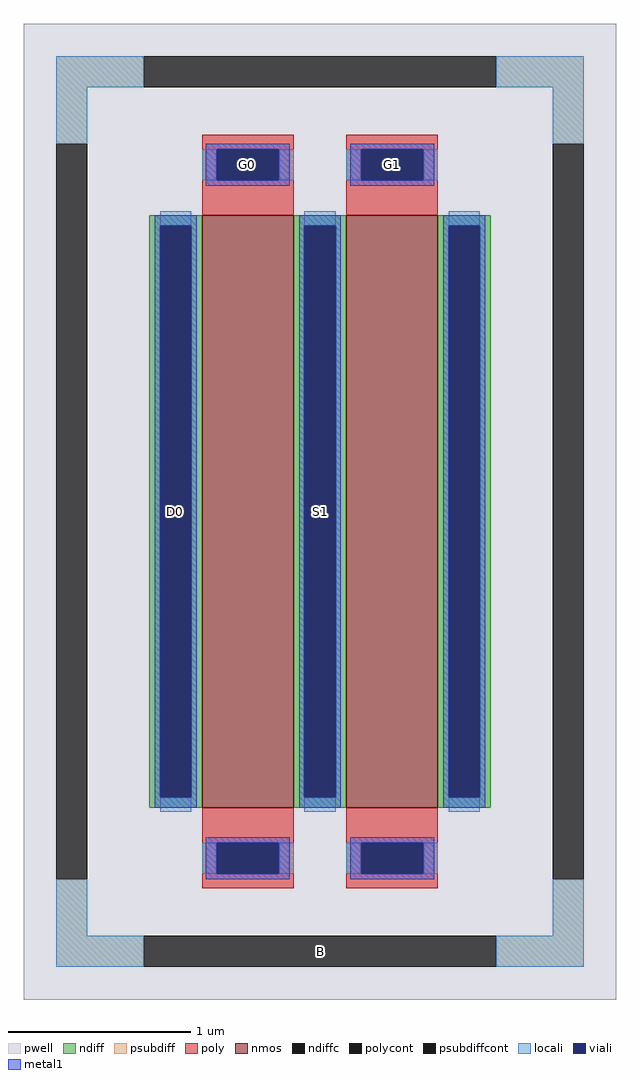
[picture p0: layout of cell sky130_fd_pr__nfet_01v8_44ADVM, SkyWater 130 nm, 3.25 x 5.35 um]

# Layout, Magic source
magic
tech sky130A
magscale 1 2
<< pwell >>
rect -325 -535 325 535
<< nmos >>
rect -129 -325 -29 325
rect 29 -325 129 325
<< ndiff >>
rect -187 313 -129 325
rect -187 -313 -175 313
rect -141 -313 -129 313
rect -187 -325 -129 -313
rect -29 313 29 325
rect -29 -313 -17 313
rect 17 -313 29 313
rect -29 -325 29 -313
rect 129 313 187 325
rect 129 -313 141 313
rect 175 -313 187 313
rect 129 -325 187 -313
<< ndiffc >>
rect -175 -313 -141 313
rect -17 -313 17 313
rect 141 -313 175 313
<< psubdiff >>
rect -289 465 -193 499
rect 193 465 289 499
rect -289 403 -255 465
rect 255 403 289 465
rect -289 -465 -255 -403
rect 255 -465 289 -403
rect -289 -499 -193 -465
rect 193 -499 289 -465
<< psubdiffcont >>
rect -193 465 193 499
rect -289 -403 -255 403
rect 255 -403 289 403
rect -193 -499 193 -465
<< poly >>
rect -129 397 -29 413
rect -129 363 -113 397
rect -45 363 -29 397
rect -129 325 -29 363
rect 29 397 129 413
rect 29 363 45 397
rect 113 363 129 397
rect 29 325 129 363
rect -129 -363 -29 -325
rect -129 -397 -113 -363
rect -45 -397 -29 -363
rect -129 -413 -29 -397
rect 29 -363 129 -325
rect 29 -397 45 -363
rect 113 -397 129 -363
rect 29 -413 129 -397
<< polycont >>
rect -113 363 -45 397
rect 45 363 113 397
rect -113 -397 -45 -363
rect 45 -397 113 -363
<< locali >>
rect -289 465 -193 499
rect 193 465 289 499
rect -289 403 -255 465
rect 255 403 289 465
rect -129 363 -113 397
rect -45 363 -29 397
rect 29 363 45 397
rect 113 363 129 397
rect -175 313 -141 329
rect -175 -329 -141 -313
rect -17 313 17 329
rect -17 -329 17 -313
rect 141 313 175 329
rect 141 -329 175 -313
rect -129 -397 -113 -363
rect -45 -397 -29 -363
rect 29 -397 45 -363
rect 113 -397 129 -363
rect -289 -465 -255 -403
rect 255 -465 289 -403
rect -289 -499 -193 -465
rect 193 -499 289 -465
<< viali >>
rect -113 363 -45 397
rect 45 363 113 397
rect -175 -313 -141 313
rect -17 -313 17 313
rect 141 -313 175 313
rect -113 -397 -45 -363
rect 45 -397 113 -363
<< metal1 >>
rect -125 397 -33 403
rect -125 363 -113 397
rect -45 363 -33 397
rect -125 357 -33 363
rect 33 397 125 403
rect 33 363 45 397
rect 113 363 125 397
rect 33 357 125 363
rect -181 313 -135 325
rect -181 -313 -175 313
rect -141 -313 -135 313
rect -181 -325 -135 -313
rect -23 313 23 325
rect -23 -313 -17 313
rect 17 -313 23 313
rect -23 -325 23 -313
rect 135 313 181 325
rect 135 -313 141 313
rect 175 -313 181 313
rect 135 -325 181 -313
rect -125 -363 -33 -357
rect -125 -397 -113 -363
rect -45 -397 -33 -363
rect -125 -403 -33 -397
rect 33 -363 125 -357
rect 33 -397 45 -363
rect 113 -397 125 -363
rect 33 -403 125 -397
<< labels >>
rlabel psubdiffcont 0 -482 0 -482 0 B
port 1 nsew
rlabel ndiffc -158 0 -158 0 0 D0
port 2 nsew
rlabel polycont -79 380 -79 380 0 G0
port 3 nsew
rlabel ndiffc 0 0 0 0 0 S1
port 4 nsew
rlabel polycont 79 380 79 380 0 G1
port 5 nsew
<< properties >>
string FIXED_BBOX -272 -482 272 482
string gencell sky130_fd_pr__nfet_01v8
string library sky130
string parameters w 3.25 l 0.5 m 1 nf 2 diffcov 100 polycov 100 guard 1 glc 1 grc 1 gtc 1 gbc 1 tbcov 100 rlcov 100 topc 1 botc 1 poverlap 0 doverlap 1 lmin 0.15 wmin 0.42 class mosfet compatible {sky130_fd_pr__nfet_01v8 sky130_fd_pr__nfet_01v8_lvt  sky130_fd_bs_flash__special_sonosfet_star  sky130_fd_pr__nfet_g5v0d10v5 sky130_fd_pr__nfet_05v0_nvt  sky130_fd_pr__nfet_03v3_nvt} full_metal 1 conn_gates 0 viasrc 100 viadrn 100 viagate 100 viagb 0 viagr 0 viagl 0 viagt 0 doports 1
<< end >>
